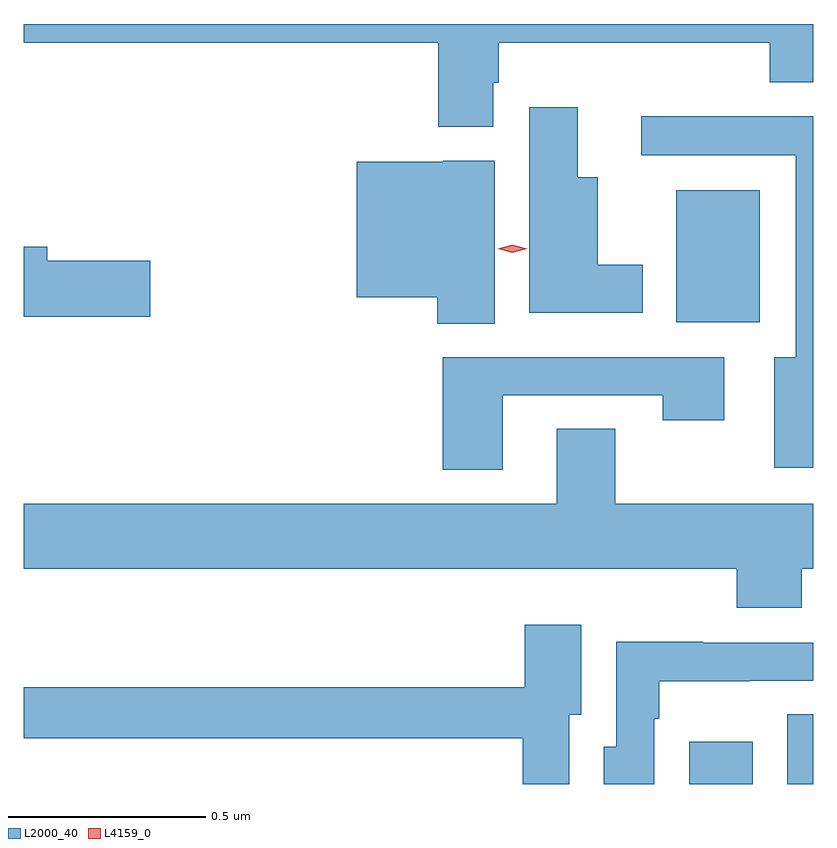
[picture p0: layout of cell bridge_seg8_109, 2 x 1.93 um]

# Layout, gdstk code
import gdstk
lib = gdstk.Library(unit=1e-6, precision=1e-09)
def R(c, l, rs):  # rectangles x0, y0, x1, y1
    for r in rs: c.add(gdstk.rectangle(r[:2], r[2:], *l))
def P(c, l, *ps):  # polygons
    for p in ps: c.add(gdstk.Polygon(p, *l))
L2000_40 = (2000, 40)
L4159_0 = (4159, 0)

bridge_seg8_109 = lib.new_cell('bridge_seg8_109')
R(bridge_seg8_109, L2000_40, [(768.275,1162.574,768.436,1162.681), (768.524,1162.574,768.589,1162.751), (768.242,1163.744,768.454,1164.079)])
P(bridge_seg8_109, L2000_40, [(767.779,1164.351),(767.792,1164.351),(767.792,1164.452),(768.479,1164.452),(768.479,1164.353),(768.589,1164.353),(768.589,1164.5),(766.589,1164.5),(766.589,1164.452),(767.639,1164.452),(767.639,1164.239),(767.779,1164.239)],
  [(768.157,1163.89),(768.043,1163.89),(768.043,1164.112),(767.992,1164.112),(767.992,1164.289),(767.87,1164.289),(767.87,1163.768),(768.157,1163.768)],
  [(768.589,1164.266),(768.153,1164.266),(768.153,1164.168),(768.545,1164.168),(768.545,1163.656),(768.491,1163.656),(768.491,1163.376),(768.589,1163.376)],
  [(767.782,1164.154),(767.652,1164.154),(767.652,1164.151),(767.432,1164.151),(767.432,1163.807),(767.636,1163.807),(767.636,1163.74),(767.782,1163.74)],
  [(766.909,1163.9),(766.648,1163.9),(766.648,1163.936),(766.589,1163.936),(766.589,1163.758),(766.909,1163.758)],
  [(767.803,1163.559),(768.208,1163.559),(768.208,1163.496),(768.364,1163.496),(768.364,1163.655),(767.651,1163.655),(767.651,1163.37),(767.803,1163.37)],
  [(768.087,1163.474),(767.939,1163.474),(767.939,1163.284),(766.589,1163.284),(766.589,1163.12),(768.395,1163.12),(768.395,1163.021),(768.56,1163.021),(768.56,1163.12),(768.589,1163.12),(768.589,1163.284),(768.087,1163.284)],
  [(767.971,1162.749),(768.001,1162.749),(768.001,1162.978),(767.858,1162.978),(767.858,1162.819),(766.589,1162.819),(766.589,1162.69),(767.853,1162.69),(767.853,1162.574),(767.971,1162.574)],
  [(768.186,1162.739),(768.199,1162.739),(768.199,1162.835),(768.428,1162.835),(768.428,1162.836),(768.589,1162.836),(768.589,1162.932),(768.311,1162.932),(768.311,1162.934),(768.09,1162.934),(768.09,1162.668),(768.059,1162.668),(768.059,1162.574),(768.186,1162.574)])
P(bridge_seg8_109, L4159_0, [(767.827,1163.92),(767.79,1163.93),(767.79,1163.93),(767.79,1163.931),(767.827,1163.94),(767.865,1163.93),(767.865,1163.93),(767.865,1163.93)])

lib.write_gds('bridge_seg8_109.gds')
